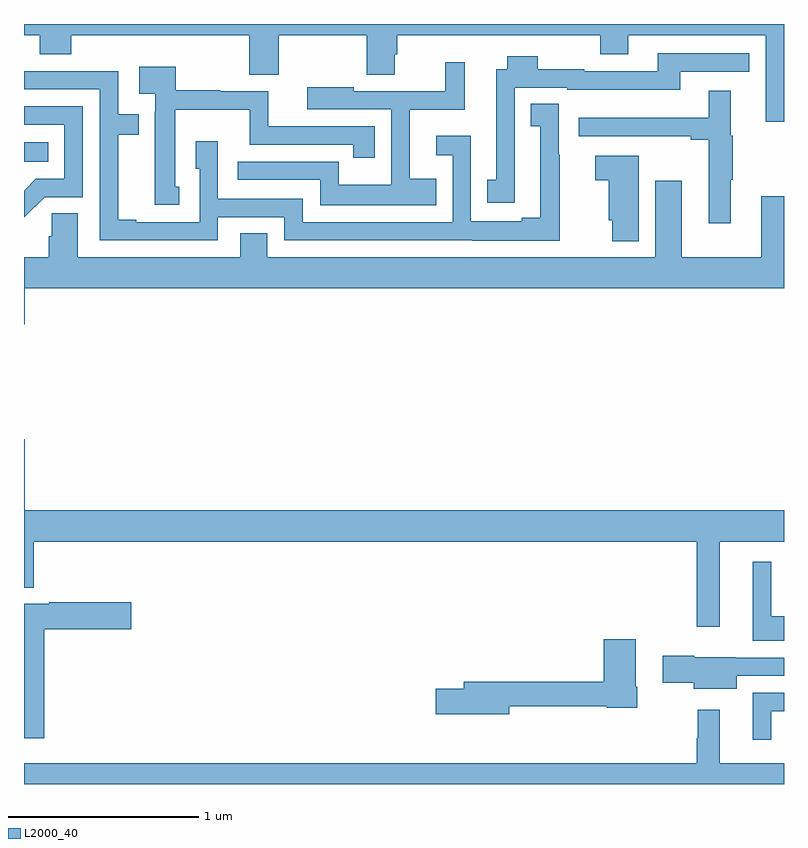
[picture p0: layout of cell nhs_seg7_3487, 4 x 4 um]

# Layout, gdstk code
import gdstk
lib = gdstk.Library(unit=1e-6, precision=1e-09)
def R(c, l, rs):  # rectangles x0, y0, x1, y1
    for r in rs: c.add(gdstk.rectangle(r[:2], r[2:], *l))
def P(c, l, *ps):  # polygons
    for p in ps: c.add(gdstk.Polygon(p, *l))
L2000_40 = (2000, 40)

nhs_seg7_3487 = lib.new_cell('nhs_seg7_3487')
R(nhs_seg7_3487, L2000_40, [(333,1009.274,333.128,1009.378)])
P(nhs_seg7_3487, L2000_40, [(333,1009.94),(333.083,1009.94),(333.083,1009.841),(333.248,1009.841),(333.248,1009.94),(334.186,1009.94),(334.186,1009.732),(334.341,1009.732),(334.341,1009.94),(334.804,1009.94),(334.804,1009.732),(334.951,1009.732),(334.951,1009.842),(334.964,1009.842),(334.964,1009.94),(336.034,1009.94),(336.034,1009.841),(336.181,1009.841),(336.181,1009.94),(336.903,1009.94),(336.903,1009.485),(337,1009.485),(337,1010),(333,1010)],
  [(335.584,1009.382),(335.583,1009.382),(335.583,1009.665),(335.859,1009.665),(335.859,1009.655),(336.454,1009.655),(336.454,1009.749),(336.818,1009.749),(336.818,1009.845),(336.335,1009.845),(336.335,1009.752),(335.949,1009.752),(335.949,1009.762),(335.703,1009.762),(335.703,1009.831),(335.543,1009.831),(335.543,1009.761),(335.486,1009.761),(335.486,1009.179),(335.437,1009.179),(335.437,1009.059),(335.584,1009.059)],
  [(335.171,1009.186),(335.029,1009.186),(335.029,1009.55),(335.32,1009.55),(335.32,1009.798),(335.218,1009.798),(335.218,1009.647),(334.735,1009.647),(334.735,1009.666),(334.491,1009.666),(334.491,1009.551),(334.932,1009.551),(334.932,1009.153),(334.656,1009.153),(334.656,1009.274),(334.553,1009.274),(334.553,1009.275),(334.125,1009.275),(334.125,1009.179),(334.56,1009.179),(334.56,1009.046),(335.171,1009.046)],
  [(333.817,1009.143),(333.796,1009.143),(333.796,1009.55),(334.187,1009.55),(334.187,1009.365),(334.734,1009.365),(334.734,1009.296),(334.847,1009.296),(334.847,1009.461),(334.286,1009.461),(334.286,1009.647),(334.032,1009.647),(334.032,1009.652),(333.799,1009.652),(333.799,1009.774),(333.606,1009.774),(333.606,1009.634),(333.69,1009.634),(333.69,1009.538),(333.689,1009.538),(333.689,1009.05),(333.817,1009.05)],
  [(335.819,1009.313),(335.814,1009.313),(335.814,1009.58),(335.668,1009.58),(335.668,1009.462),(335.717,1009.462),(335.717,1008.979),(335.621,1008.979),(335.621,1008.961),(335.352,1008.961),(335.352,1009.411),(335.169,1009.411),(335.169,1009.31),(335.256,1009.31),(335.256,1008.957),(334.467,1008.957),(334.467,1009.08),(334.02,1009.08),(334.02,1009.384),(333.905,1009.384),(333.905,1009.239),(333.924,1009.239),(333.924,1008.957),(333.592,1008.957),(333.592,1008.97),(333.497,1008.97),(333.497,1009.416),(333.604,1009.416),(333.604,1009.524),(333.495,1009.524),(333.495,1009.752),(333,1009.752),(333,1009.656),(333.399,1009.656),(333.399,1008.861),(334.02,1008.861),(334.02,1008.984),(334.371,1008.984),(334.371,1008.861),(335.359,1008.861),(335.359,1008.86),(335.819,1008.86)],
  [(336.721,1009.18),(336.729,1009.18),(336.729,1009.413),(336.721,1009.413),(336.721,1009.648),(336.605,1009.648),(336.605,1009.507),(335.919,1009.507),(335.919,1009.41),(336.331,1009.41),(336.331,1009.408),(336.509,1009.408),(336.509,1009.39),(336.605,1009.39),(336.605,1008.951),(336.721,1008.951)],
  [(333.108,1009.089),(333.309,1009.089),(333.309,1009.566),(333,1009.566),(333,1009.47),(333.213,1009.47),(333.213,1009.185),(333.063,1009.185),(333,1009.122),(333,1008.982)],
  [(336.235,1009.306),(336.006,1009.306),(336.006,1009.177),(336.077,1009.177),(336.077,1008.966),(336.095,1008.966),(336.095,1008.857),(336.235,1008.857)],
  [(333.004,1008.608),(337,1008.608),(337,1009.093),(336.881,1009.093),(336.881,1008.772),(336.463,1008.772),(336.463,1009.174),(336.323,1009.174),(336.323,1008.772),(334.279,1008.772),(334.279,1008.899),(334.139,1008.899),(334.139,1008.772),(333.283,1008.772),(333.283,1009.004),(333.145,1009.004),(333.145,1008.884),(333.131,1008.884),(333.131,1008.772),(333,1008.772),(333,1008.42),(333.004,1008.42)],
  [(336.661,1007.276),(337,1007.276),(337,1007.44),(333.004,1007.44),(333.004,1007.815),(333,1007.815),(333,1007.033),(333.05,1007.033),(333.05,1007.276),(336.54,1007.276),(336.54,1006.827),(336.661,1006.827)],
  [(337,1006.882),(336.934,1006.882),(336.934,1007.17),(336.836,1007.17),(336.836,1006.754),(337,1006.754)],
  [(333.107,1006.814),(333.565,1006.814),(333.565,1006.956),(333.133,1006.956),(333.133,1006.948),(333,1006.948),(333,1006.241),(333.107,1006.241)],
  [(335.554,1006.41),(336.066,1006.41),(336.066,1006.402),(336.228,1006.402),(336.228,1006.513),(336.22,1006.513),(336.22,1006.762),(336.05,1006.762),(336.05,1006.538),(335.315,1006.538),(335.315,1006.502),(335.166,1006.502),(335.166,1006.367),(335.554,1006.367)],
  [(336.751,1006.569),(337,1006.569),(337,1006.665),(336.747,1006.665),(336.747,1006.666),(336.528,1006.666),(336.528,1006.676),(336.363,1006.676),(336.363,1006.534),(336.524,1006.534),(336.524,1006.502),(336.751,1006.502)],
  [(336.934,1006.383),(337,1006.383),(337,1006.479),(336.836,1006.479),(336.836,1006.233),(336.934,1006.233)],
  [(337,1006.108),(336.661,1006.108),(336.661,1006.39),(336.547,1006.39),(336.547,1006.241),(336.54,1006.241),(336.54,1006.108),(333,1006.108),(333,1006),(337,1006)])

lib.write_gds('nhs_seg7_3487.gds')
